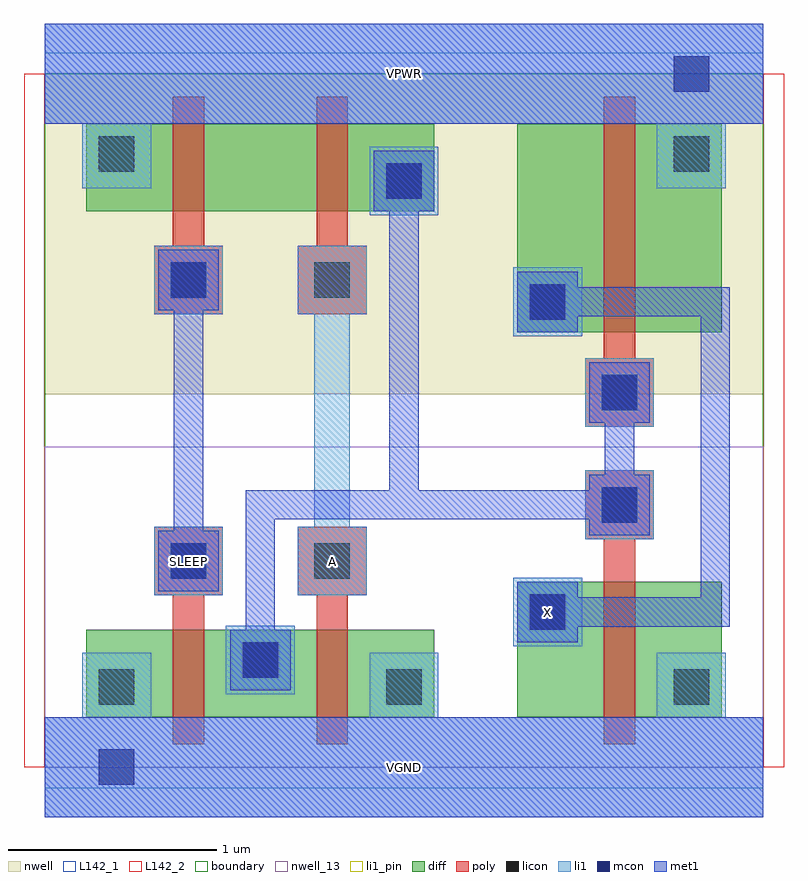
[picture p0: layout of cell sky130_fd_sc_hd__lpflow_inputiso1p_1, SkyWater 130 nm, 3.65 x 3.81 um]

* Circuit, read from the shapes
.subckt sky130_fd_sc_hd__lpflow_inputiso1p_1 A SLEEP VGND VPWR X
XM1 n1 SLEEP VGND VSUBS sky130_fd_pr__nfet_01v8 w=0.42 l=0.15
XM2 VGND A n1 VSUBS sky130_fd_pr__nfet_01v8 w=0.42 l=0.15
XM3 VGND n1 X VSUBS sky130_fd_pr__nfet_01v8 w=0.65 l=0.15
XM4 n2 SLEEP VPWR n3 sky130_fd_pr__pfet_01v8 w=0.42 l=0.15
XM5 n1 A n2 n3 sky130_fd_pr__pfet_01v8 w=0.42 l=0.15
XM6 VPWR n1 X n3 sky130_fd_pr__pfet_01v8 w=1 l=0.15
.ends

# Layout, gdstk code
import gdstk
lib = gdstk.Library(unit=1e-6, precision=1e-09)
def R(c, l, rs):  # rectangles x0, y0, x1, y1
    for r in rs: c.add(gdstk.rectangle(r[:2], r[2:], *l))
def A(c, l, x, y, w, h, nx, ny, dx, dy):  # array of equal rectangles
    R(c, l, [(x+i*dx, y+j*dy, x+i*dx+w, y+j*dy+h) for i in range(nx) for j in range(ny)])
def P(c, l, *ps):  # polygons
    for p in ps: c.add(gdstk.Polygon(p, *l))
nwell_13 = (64, 13)
nwell = (64, 20)
diff = (65, 20)
poly = (66, 20)
licon = (66, 44)
li1_pin = (67, 16)
li1 = (67, 20)
mcon = (67, 44)
met1 = (68, 20)
L142_1 = (142, 1)
L142_2 = (142, 2)
boundary = (235, 4)

sky130_fd_sc_hd__lpflow_ = lib.new_cell('sky130_fd_sc_hd__lpflow_inputiso1p_1')
R(sky130_fd_sc_hd__lpflow_, nwell_13, [(0,0,3.45,1.54)])
R(sky130_fd_sc_hd__lpflow_, nwell, [(0,1.79,3.45,3.33)])
R(sky130_fd_sc_hd__lpflow_, diff, [(0.2,0.24,1.87,0.66), (0.2,0.24,0.615,0.66), (0.615,0.24,1.305,0.66), (1.305,0.24,1.87,0.66), (2.27,0.24,3.25,0.89), (2.27,0.24,2.685,0.89), (2.685,0.24,3.25,0.89), (2.27,2.09,3.25,3.09), (2.27,2.09,2.685,3.09), (2.685,2.09,3.25,3.09), (0.2,2.67,1.87,3.09), (0.2,2.67,0.615,3.09), (0.615,2.67,1.305,3.09), (1.305,2.67,1.87,3.09)])
P(sky130_fd_sc_hd__lpflow_, poly, [(0.615,0.11),(0.615,0.825),(0.525,0.825),(0.525,1.155),(0.855,1.155),(0.855,0.825),(0.765,0.825),(0.765,0.11)],
  [(0.525,2.175),(0.525,2.505),(0.615,2.505),(0.615,3.22),(0.765,3.22),(0.765,2.505),(0.855,2.505),(0.855,2.175)],
  [(2.685,0.11),(2.685,1.095),(2.595,1.095),(2.595,1.425),(2.925,1.425),(2.925,1.095),(2.835,1.095),(2.835,0.11)],
  [(2.595,1.635),(2.595,1.965),(2.685,1.965),(2.685,3.22),(2.835,3.22),(2.835,1.965),(2.925,1.965),(2.925,1.635)],
  [(1.305,0.11),(1.305,0.825),(1.215,0.825),(1.215,1.155),(1.545,1.155),(1.545,0.825),(1.455,0.825),(1.455,0.11)],
  [(1.215,2.175),(1.215,2.505),(1.305,2.505),(1.305,3.22),(1.455,3.22),(1.455,2.505),(1.545,2.505),(1.545,2.175)])
A(sky130_fd_sc_hd__lpflow_, licon, 0.26, 0.3, 0.17, 0.17, 3, 1, 1.38, 0)
R(sky130_fd_sc_hd__lpflow_, licon, [(0.95,0.43,1.12,0.6), (2.33,0.66,2.5,0.83), (0.605,0.905,0.775,1.075), (1.295,0.905,1.465,1.075), (2.675,1.175,2.845,1.345), (2.675,1.715,2.845,1.885), (2.33,2.15,2.5,2.32), (0.605,2.255,0.775,2.425), (1.295,2.255,1.465,2.425), (1.64,2.73,1.81,2.9), (0.26,2.86,0.43,3.03), (3.02,2.86,3.19,3.03)])
R(sky130_fd_sc_hd__lpflow_, li1_pin, [(0,-0.24,3.45,0.24), (2.25,0.58,2.58,0.91), (0.525,0.825,0.855,1.155), (0,3.09,3.45,3.57)])
P(sky130_fd_sc_hd__lpflow_, li1_pin, [(1.215,0.825),(1.215,1.155),(1.295,1.155),(1.295,2.175),(1.215,2.175),(1.215,2.505),(1.545,2.505),(1.545,2.175),(1.465,2.175),(1.465,1.155),(1.545,1.155),(1.545,0.825)])
R(sky130_fd_sc_hd__lpflow_, li1, [(0.87,0.35,1.2,0.68), (2.25,0.58,2.58,0.91), (0.525,0.825,0.855,1.155), (2.595,1.095,2.925,1.425), (2.595,1.635,2.925,1.965), (2.25,2.07,2.58,2.4), (0.525,2.175,0.855,2.505), (1.56,2.65,1.89,2.98)])
P(sky130_fd_sc_hd__lpflow_, li1, [(0.18,2.78),(0.18,3.09),(0,3.09),(0,3.57),(3.45,3.57),(3.45,3.09),(3.27,3.09),(3.27,2.78),(2.94,2.78),(2.94,3.09),(0.51,3.09),(0.51,2.78)],
  [(0,-0.24),(0,0.24),(0.18,0.24),(0.18,0.55),(0.51,0.55),(0.51,0.24),(1.56,0.24),(1.56,0.55),(1.89,0.55),(1.89,0.24),(2.94,0.24),(2.94,0.55),(3.27,0.55),(3.27,0.24),(3.45,0.24),(3.45,-0.24)],
  [(1.215,0.825),(1.215,1.155),(1.295,1.155),(1.295,2.175),(1.215,2.175),(1.215,2.505),(1.545,2.505),(1.545,2.175),(1.465,2.175),(1.465,1.155),(1.545,1.155),(1.545,0.825)])
R(sky130_fd_sc_hd__lpflow_, mcon, [(0.26,-0.085,0.43,0.085), (0.95,0.43,1.12,0.6), (2.33,0.66,2.5,0.83), (0.605,0.905,0.775,1.075), (2.675,1.175,2.845,1.345), (2.675,1.715,2.845,1.885), (2.33,2.15,2.5,2.32), (0.605,2.255,0.775,2.425), (1.64,2.73,1.81,2.9), (3.02,3.245,3.19,3.415)])
R(sky130_fd_sc_hd__lpflow_, met1, [(0,-0.24,3.45,0.24), (0,3.09,3.45,3.57)])
P(sky130_fd_sc_hd__lpflow_, met1, [(0.545,0.845),(0.545,1.135),(0.62,1.135),(0.62,2.195),(0.545,2.195),(0.545,2.485),(0.835,2.485),(0.835,2.195),(0.76,2.195),(0.76,1.135),(0.835,1.135),(0.835,0.845)],
  [(0.89,0.37),(0.89,0.66),(0.965,0.66),(0.965,1.33),(1.655,1.33),(1.655,2.67),(1.58,2.67),(1.58,2.96),(1.87,2.96),(1.87,2.67),(1.795,2.67),(1.795,1.33),(2.615,1.33),(2.615,1.405),(2.69,1.405),(2.69,1.655),(2.615,1.655),(2.615,1.945),(2.905,1.945),(2.905,1.655),(2.83,1.655),(2.83,1.405),(2.905,1.405),(2.905,1.115),(2.615,1.115),(2.615,1.19),(1.105,1.19),(1.105,0.66),(1.18,0.66),(1.18,0.37)],
  [(2.27,0.6),(2.27,0.89),(2.56,0.89),(2.56,0.815),(3.15,0.815),(3.15,2.165),(2.56,2.165),(2.56,2.09),(2.27,2.09),(2.27,2.38),(2.56,2.38),(2.56,2.305),(3.29,2.305),(3.29,0.675),(2.56,0.675),(2.56,0.6)])
R(sky130_fd_sc_hd__lpflow_, L142_1, [(0,-0.1,3.45,0), (0,3.33,3.45,3.43)])
R(sky130_fd_sc_hd__lpflow_, L142_2, [(-0.1,0,0,3.33), (3.45,0,3.55,3.33)])
R(sky130_fd_sc_hd__lpflow_, boundary, [(0,0,3.45,3.33)])
sky130_fd_sc_hd__lpflow_.add(gdstk.Label('X', (2.415,0.745), layer=67, texttype=5))
sky130_fd_sc_hd__lpflow_.add(gdstk.Label('SLEEP', (0.69,0.99), layer=67, texttype=5))
sky130_fd_sc_hd__lpflow_.add(gdstk.Label('A', (1.38,0.99), layer=67, texttype=5))
sky130_fd_sc_hd__lpflow_.add(gdstk.Label('VGND', (1.725,0), layer=67, texttype=5))
sky130_fd_sc_hd__lpflow_.add(gdstk.Label('VPWR', (1.725,3.33), layer=67, texttype=5))
sky130_fd_sc_hd__lpflow_.add(gdstk.Label('VGND', (1.725,0), layer=68, texttype=5))
sky130_fd_sc_hd__lpflow_.add(gdstk.Label('VPWR', (1.725,3.33), layer=68, texttype=5))

lib.write_gds('sky130_fd_sc_hd__lpflow_inputiso1p_1.gds')
